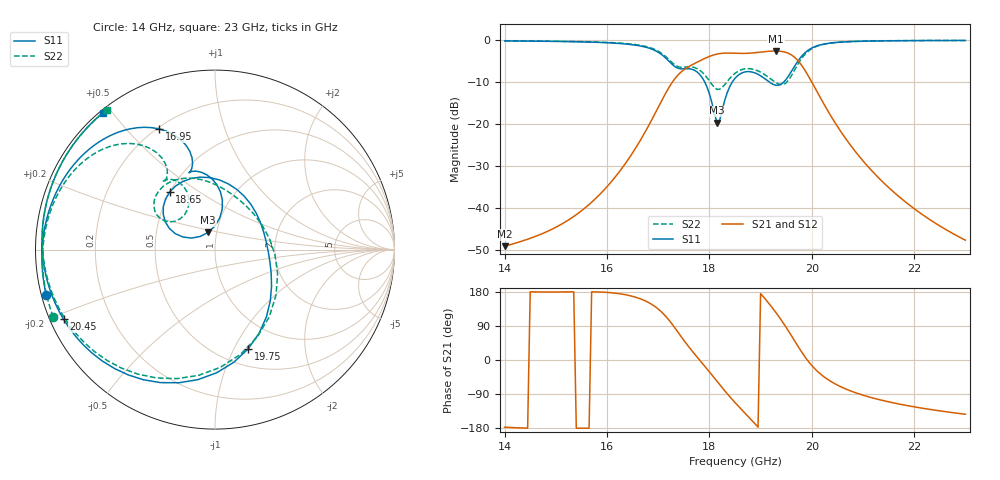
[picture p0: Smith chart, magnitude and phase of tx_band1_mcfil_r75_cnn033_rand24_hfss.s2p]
! Touchstone file exported from HFSS 3D Layout Design 2026.1.0
!  File:  D:/Work/SIM/ADS_AUTO_SIM/projects/RFSOC_RF/TX_Fillter.aedt
!  Generated:  08:17:11 AM Aug 31, 2026
!  Design:  TX_BAND1_MCFIL_R75_CNN033
!  Project:  TX_Fillter
# GHz S MA R 50.000000
! Terminal data exported
! Port[1] = Port1
! Port[2] = Port2
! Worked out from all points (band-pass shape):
!   181 points, 14 GHz to 23 GHz, reference 50 ohm
!   highest |S21| = -2.64 dB at 19.3 GHz (marker M1); lowest = -49.1 dB at 14 GHz (marker M2)
!   |S21| within 3 dB of the highest: 17.71 GHz to 19.78 GHz (2.071 GHz wide, 11 % of centre)
!   lowest |S11| = -19.7 dB at 18.15 GHz (marker M3), VSWR 1.23, Z = 45.6 + j8.85 ohm
!   |S11| at or under -10 dB: 17.91 GHz to 18.45 GHz (541.3 MHz wide, 2.98 % of centre); 19.17 GHz to 19.46 GHz (287.3 MHz wide, 1.49 % of centre)
!   |S22| runs from -11.8 to -0.1 dB; largest |S21 - S12| = 1.6e-14
!   S11 on the Smith chart (normalised r, x): 14 GHz: 0.01, -0.13; 16.95 GHz: 0.21, +0.62; 18.65 GHz: 0.50, +0.38; 19.75 GHz: 0.68, -1.14; 20.45 GHz: 0.04, -0.22; 23 GHz: 0.01, +0.47
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14  0.9734 -164.9  0.003504 -177.3  0.003504 -177.3  0.9759 -157.4
15.5  0.9476 165.2  0.009229 -179.9  0.009229 -179.9  0.9532 174.6
16.3  0.9016 143.0  0.03011 173.7  0.03011 173.7  0.9122 154.3
16.95  0.741 114.8  0.1371 139.8  0.1371 139.8  0.7618 129.1
17  0.7127 112.2  0.157 134.6  0.157 134.6  0.7345 126.7
17.25  0.5277 104.0  0.2972 98.4  0.2972 98.4  0.5517 120.0
17.5  0.4524 108.8  0.4404 52.0  0.4404 52.0  0.4732 127.4
17.85  0.3622 88.4  0.5786 -6.7  0.5786 -6.7  0.4172 117.7
18.15  0.1033 111.4  0.6784 -56.4  0.6784 -56.4  0.2579 131.0
18.3  0.1914 158.6  0.6963 -81.3  0.6963 -81.3  0.2942 148.4
18.5  0.3492 145.7  0.6937 -112.2  0.6937 -112.2  0.4002 147.1
18.65  0.4082 128.2  0.6906 -133.9  0.6906 -133.9  0.4465 137.4
19  0.374 78.6  0.7153 175.3  0.7153 175.3  0.4132 106.2
19.3  0.2884 20.1  0.7378 125.0  0.7378 125.0  0.3103 65.4
19.5  0.34 -23.0  0.7086 86.0  0.7086 86.0  0.3089 11.9
19.75  0.5827 -71.5  0.5477 31.9  0.5477 31.9  0.5411 -64.2
20  0.8007 -112.2  0.3146 -14.5  0.3146 -14.5  0.7859 -114.5
20.2  0.8825 -135.2  0.1888 -40.4  0.1888 -40.4  0.879 -139.6
20.45  0.9288 -155.3  0.1043 -62.7  0.1043 -62.7  0.9303 -160.2
20.85  0.9589 -176.6  0.04696 -86.2  0.04696 -86.2  0.9617 179.0
21.5  0.9761 161.2  0.01751 -110.4  0.01751 -110.4  0.978 157.8
23  0.985 129.5  0.00413 -143.2  0.00413 -143.2  0.9852 127.8
